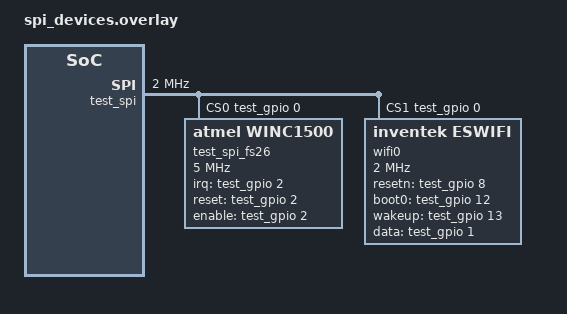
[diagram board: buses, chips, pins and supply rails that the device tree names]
/*
 * Copyright (c) 2024 TOKITA Hiroshi
 * SPDX-License-Identifier: Apache-2.0
 */

/ {
	test {
		#address-cells = <1>;
		#size-cells = <1>;

		test_gpio: gpio@deadbeef {
			compatible = "vnd,gpio";
			gpio-controller;
			reg = <0xdeadbeef 0x1000>;
			#gpio-cells = <0x2>;
			status = "okay";
		};

		test_spi: spi@33334444 {
			#address-cells = <1>;
			#size-cells = <0>;
			compatible = "vnd,spi";
			reg = <0x33334444 0x1000>;
			status = "okay";
			clock-frequency = <2000000>;

			/* one entry for every devices at spi.dtsi */
			cs-gpios = <&test_gpio 0 0>,
				   <&test_gpio 0 0>,
				   <&test_gpio 0 0>,
				   <&test_gpio 0 0>,
				   <&test_gpio 0 0>;

			test_spi_fs26: fs26@0 {
				compatible = "atmel,winc1500";
				reg = <0>;
				spi-max-frequency = <5000000>;
				irq-gpios = <&test_gpio 2 0>;
				reset-gpios = <&test_gpio 2 0>;
				enable-gpios = <&test_gpio 2 0>;
				status = "okay";
			};

			wifi0: ism43362@1 {
				compatible = "inventek,eswifi";
				spi-max-frequency = <2000000>;
				reg = <1>;
				resetn-gpios = <&test_gpio 8 0>;
				boot0-gpios = <&test_gpio 12 0>;
				wakeup-gpios = <&test_gpio 13 0>;
				data-gpios = <&test_gpio 1 0>;
			};
		};
	};
};

